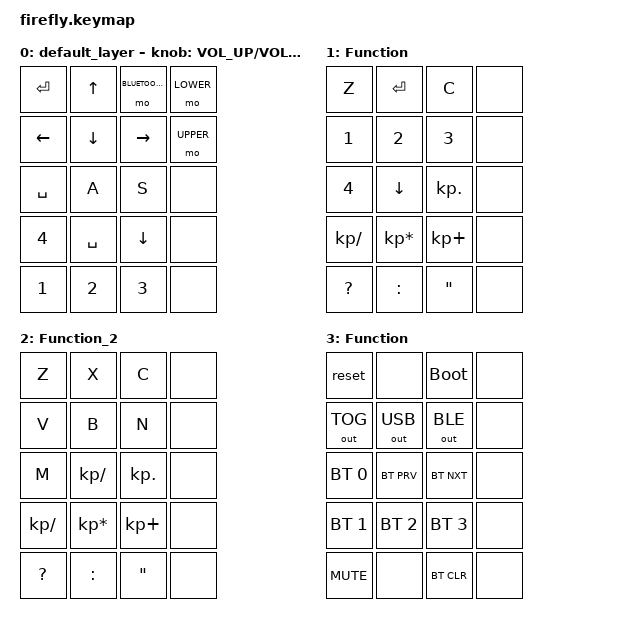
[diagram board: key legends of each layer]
/*
 * Copyright (c) 2020 The ZMK Contributors
 *
 * SPDX-License-Identifier: MIT
 */

#include <behaviors.dtsi>
#include <dt-bindings/zmk/keys.h>
#include <dt-bindings/zmk/bt.h>
#include <dt-bindings/zmk/outputs.h>
#include <dt-bindings/zmk/matrix_transform.h>
#define DEFAULT 0
#define LOWER 1
#define UPPER 2
#define BLUETOOTH 3

&kscan0 {
    debounce-period = <50>;
};

	&left_encoder {
		status = "okay";
	};
		
	&right_encoder {
		status = "okay";
	};

/ {
	sensors {
        compatible = "zmk,keymap-sensors";
        sensors = <&left_encoder &right_encoder>;
    };

	keymap {
		compatible = "zmk,keymap";
		
		default_layer {
			bindings = <
				&kp ENTER   &kp UP     &mo BLUETOOTH  &mo LOWER
				&kp LEFT    &kp DOWN   &kp RIGHT      &mo UPPER
				&kp SPACE   &kp A      &kp S          &none
				&kp N4      &kp SPACE  &kp DOWN       &none
				&kp N1      &kp N2     &kp N3         &none
			>;
			
			sensor-bindings = <&inc_dec_kp C_VOLUME_UP C_VOLUME_DOWN &inc_dec_kp PG_UP PG_DN>;
			
		};

		 func_layer_1 {
			 label = "Function";
			
			

			bindings = <
				&kp Z          &kp ENTER        &kp C	       &none
				&kp N1         &kp N2           &kp N3         &none
				&kp N4         &kp DOWN         &kp KP_DOT     &none
				&kp KP_DIVIDE  &kp KP_MULTIPLY  &kp KP_PLUS    &none
				&kp QUESTION   &kp COLON        &kp DQT        &none
			 >;

			 
		 };
		 
		 func_layer_2 {
			 label = "Function_2";
			
			

			bindings = <
			    &kp Z    &kp X    &kp C		                        &none
				&kp V    &kp B    &kp N                             &none
				&kp M    &kp KP_DIVIDE    &kp KP_DOT                &none
				&kp KP_DIVIDE    &kp KP_MULTIPLY    &kp KP_PLUS     &none
				&kp QUESTION    &kp COLON    &kp DQT                &none
			 >;

			 
		 };
		 
		 func_layer_3 {
			 label = "Function";
			
			

			bindings = <
				&reset           &none          &bootloader     &none
				&out OUT_TOG    &out OUT_USB    &out OUT_BLE    &none
				&bt BT_SEL 0    &bt BT_PRV      &bt BT_NXT      &none
				&bt BT_SEL 1    &bt BT_SEL 2    &bt BT_SEL 3    &none
				&kp C_MUTE      &none           &bt BT_CLR      &none
			 >;

			 
		 };
	};
};
